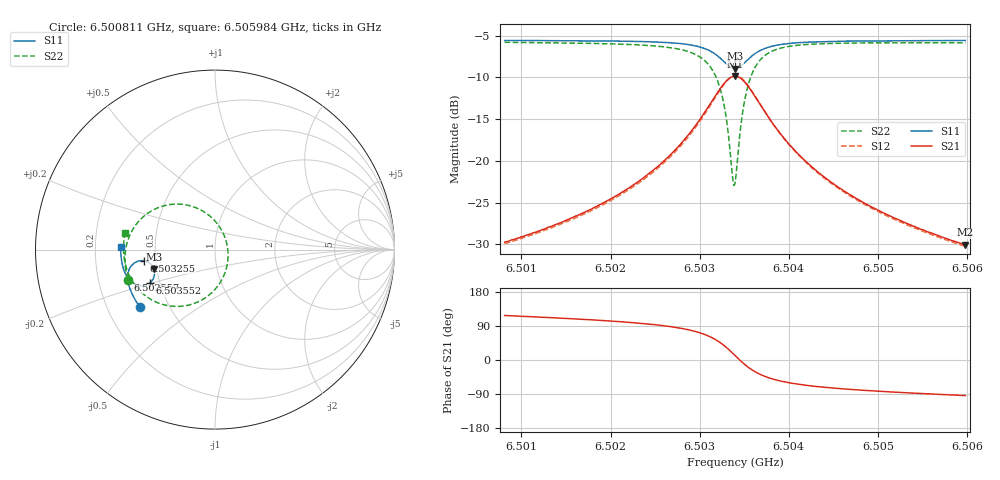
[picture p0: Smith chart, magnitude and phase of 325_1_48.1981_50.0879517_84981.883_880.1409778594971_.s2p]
#  HZ  S  RI  R  50.00
! Rohde & Schwarz Vector Network Analyzer
! Rohde-Schwarz,ZNB20-2Port,1311601062101988,3.16
! Created: UTC 3/20/2024, 11:50:38 AM
! freq[Hz]  re:S11  im:S11  re:S21  im:S21  re:S12  im:S12  re:S22  im:S22
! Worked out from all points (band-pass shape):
!   401 points, 6.500811 GHz to 6.505984 GHz, reference 50 ohm
!   highest |S21| = -9.85 dB at 6.503397 GHz (marker M1); lowest = -30.0 dB at 6.505984 GHz (marker M2)
!   |S21| within 3 dB of the highest: 6.503138 GHz to 6.503656 GHz (517.8 kHz wide, 0.00796 % of centre)
!   lowest |S11| = -8.9 dB at 6.503397 GHz (marker M3), VSWR 2.11, Z = 24.1 - j6.1 ohm
!   |S11| at or under -10 dB: nowhere
!   |S22| runs from -22.9 to -5.8 dB; largest |S21 - S12| = 0.011
!   S11 on the Smith chart (normalised r, x): 6.500811 GHz: 0.34, -0.30; 6.502557 GHz: 0.33, -0.15; 6.503255 GHz: 0.43, -0.06; 6.503552 GHz: 0.44, -0.20; 6.505984 GHz: 0.31, +0.01
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6.5008108e9  -0.4199 -0.3178  -0.015 0.029  -0.0134 0.0291  -0.4858 -0.1666
6.5016773e9  -0.4581 -0.255  -0.0145 0.0463  -0.0123 0.0459  -0.5011 -0.0767
6.5021299e9  -0.4744 -0.2158  -0.0121 0.0639  -0.00923 0.0629  -0.4998 -0.0149
6.5025437e9  -0.4851 -0.1716  -0.00313 0.094  0.000368 0.0918  -0.4813 0.0643
6.5025567e9  -0.4853 -0.1699  -0.0026 0.0953  0.000904 0.0931  -0.4801 0.0672
6.5028541e9  -0.4831 -0.1259  0.0223 0.1373  0.026 0.1331  -0.4281 0.1542
6.5030481e9  -0.4644 -0.0883  0.0717 0.1783  0.0744 0.1724  -0.3333 0.2263
6.5031645e9  -0.4351 -0.0668  0.135 0.1979  0.1362 0.1917  -0.2183 0.2536
6.503255e9  -0.3973 -0.0618  0.2104 0.1881  0.2108 0.1827  -0.0877 0.2252
6.5033067e9  -0.3722 -0.0702  0.258 0.1605  0.2589 0.1559  -0.00869 0.1686
6.5033714e9  -0.3461 -0.0961  0.3048 0.0979  0.3074 0.0929  0.0619 0.0484
6.5033972e9  -0.3399 -0.1103  0.3149 0.0664  0.3179 0.0606  0.0723 -0.0101
6.5034102e9  -0.338 -0.118  0.3174 0.0501  0.3208 0.0436  0.073 -0.0404
6.5034878e9  -0.3439 -0.1618  0.3008 -0.0427  0.3027 -0.0526  0.0162 -0.2021
6.5035524e9  -0.3646 -0.1871  0.259 -0.0957  0.2579 -0.1066  -0.0781 -0.283
6.5036559e9  -0.4034 -0.2016  0.1861 -0.1311  0.1809 -0.1404  -0.2243 -0.3161
6.503824e9  -0.4487 -0.1919  0.1063 -0.1285  0.0995 -0.1333  -0.3682 -0.2708
6.504005e9  -0.4757 -0.1706  0.0628 -0.1092  0.0567 -0.1113  -0.4389 -0.2073
6.5042637e9  -0.4961 -0.1406  0.0334 -0.0854  0.0287 -0.0859  -0.4814 -0.136
6.5046775e9  -0.5124 -0.0983  0.0139 -0.0618  0.0108 -0.0613  -0.5045 -0.0579
6.5051301e9  -0.5211 -0.0569  0.00496 -0.0468  0.0027 -0.0461  -0.5096 0.00379
6.5059836e9  -0.5258 0.0147  -0.00219 -0.0315  -0.00338 -0.0307  -0.5015 0.0924
